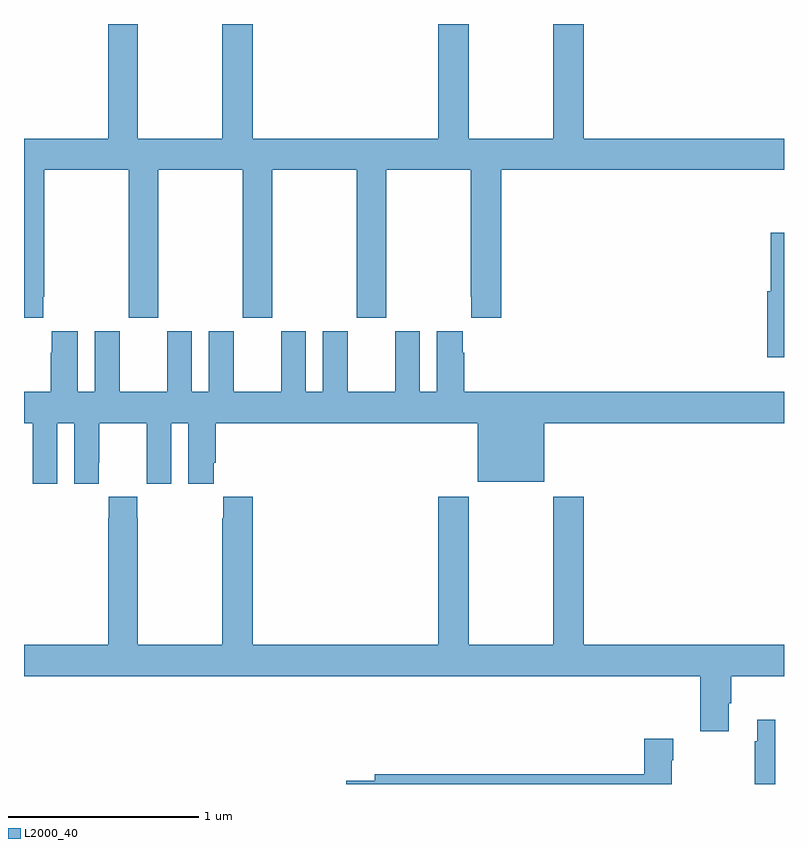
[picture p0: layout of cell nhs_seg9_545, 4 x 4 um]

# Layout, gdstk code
import gdstk
lib = gdstk.Library(unit=1e-6, precision=1e-09)
def P(c, l, *ps):  # polygons
    for p in ps: c.add(gdstk.Polygon(p, *l))
L2000_40 = (2000, 40)

nhs_seg9_545 = lib.new_cell('nhs_seg9_545')
P(nhs_seg9_545, L2000_40, [(137.101,1217.065),(137.106,1217.065),(137.106,1217.732),(137.551,1217.732),(137.551,1216.953),(137.706,1216.953),(137.706,1217.732),(138.151,1217.732),(138.151,1216.953),(138.306,1216.953),(138.306,1217.732),(138.751,1217.732),(138.751,1216.953),(138.906,1216.953),(138.906,1217.732),(139.351,1217.732),(139.351,1217.065),(139.355,1217.065),(139.355,1216.953),(139.511,1216.953),(139.511,1217.732),(141,1217.732),(141,1217.896),(139.946,1217.896),(139.946,1218.5),(139.786,1218.5),(139.786,1217.896),(139.341,1217.896),(139.341,1218.5),(139.181,1218.5),(139.181,1217.896),(138.203,1217.896),(138.203,1218.5),(138.043,1218.5),(138.043,1217.896),(137.598,1217.896),(137.598,1218.5),(137.443,1218.5),(137.443,1217.896),(137,1217.896),(137,1216.953),(137.101,1216.953)],
  [(141,1217.401),(140.93,1217.401),(140.93,1217.094),(140.912,1217.094),(140.912,1216.746),(141,1216.746)],
  [(137.176,1216.4),(137.264,1216.4),(137.264,1216.08),(137.394,1216.08),(137.394,1216.192),(137.395,1216.192),(137.395,1216.4),(137.645,1216.4),(137.645,1216.192),(137.646,1216.192),(137.646,1216.08),(137.776,1216.08),(137.776,1216.4),(137.864,1216.4),(137.864,1216.08),(137.998,1216.08),(137.998,1216.192),(138.008,1216.192),(138.008,1216.4),(139.388,1216.4),(139.388,1216.091),(139.738,1216.091),(139.738,1216.4),(141,1216.4),(141,1216.564),(139.316,1216.564),(139.316,1216.769),(139.309,1216.769),(139.309,1216.882),(139.172,1216.882),(139.172,1216.564),(139.084,1216.564),(139.084,1216.882),(138.953,1216.882),(138.953,1216.564),(138.703,1216.564),(138.703,1216.882),(138.572,1216.882),(138.572,1216.564),(138.484,1216.564),(138.484,1216.882),(138.353,1216.882),(138.353,1216.564),(138.103,1216.564),(138.103,1216.882),(137.972,1216.882),(137.972,1216.564),(137.884,1216.564),(137.884,1216.882),(137.753,1216.882),(137.753,1216.564),(137.503,1216.564),(137.503,1216.882),(137.372,1216.882),(137.372,1216.564),(137.284,1216.564),(137.284,1216.882),(137.147,1216.882),(137.147,1216.769),(137.141,1216.769),(137.141,1216.564),(137,1216.564),(137,1216.4),(137.045,1216.4),(137.045,1216.192),(137.046,1216.192),(137.046,1216.08),(137.176,1216.08)],
  [(140.71,1214.926),(140.723,1214.926),(140.723,1215.068),(141,1215.068),(141,1215.232),(139.946,1215.232),(139.946,1216.012),(139.786,1216.012),(139.786,1215.232),(139.341,1215.232),(139.341,1216.012),(139.181,1216.012),(139.181,1215.232),(138.203,1215.232),(138.203,1216.012),(138.049,1216.012),(138.049,1215.899),(138.043,1215.899),(138.043,1215.232),(137.598,1215.232),(137.598,1215.899),(137.595,1215.899),(137.595,1216.012),(137.445,1216.012),(137.445,1215.899),(137.443,1215.899),(137.443,1215.232),(137,1215.232),(137,1215.068),(140.558,1215.068),(140.558,1214.778),(140.71,1214.778)],
  [(140.955,1214.839),(140.858,1214.839),(140.858,1214.726),(140.847,1214.726),(140.847,1214.5),(140.955,1214.5)],
  [(140.41,1214.624),(140.418,1214.624),(140.418,1214.737),(140.264,1214.737),(140.264,1214.552),(138.845,1214.552),(138.845,1214.516),(138.696,1214.516),(138.696,1214.5),(140.41,1214.5)])

lib.write_gds('nhs_seg9_545.gds')
